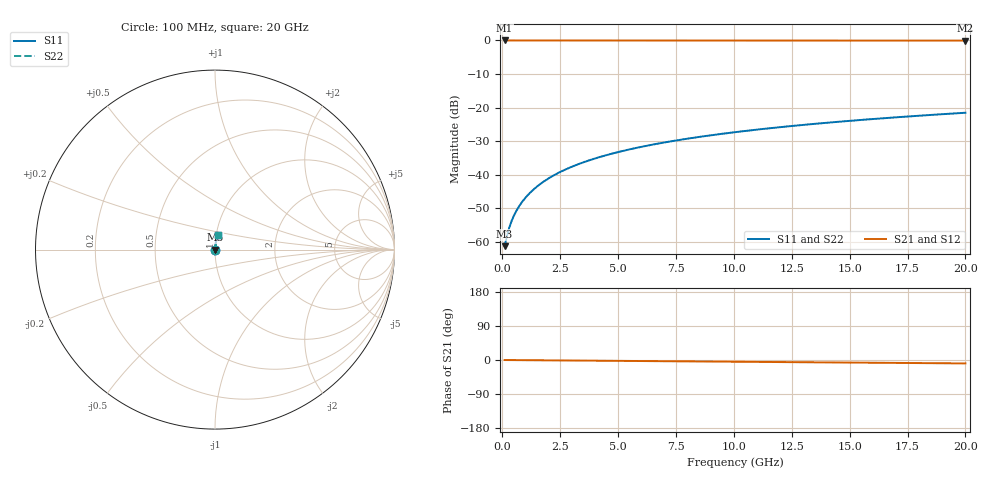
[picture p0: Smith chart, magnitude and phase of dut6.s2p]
! Touchstone file exported from HFSS 2026.1.0
!  File:  C:/ffzhzh/LocalFiles/Ansys_Project_Files/temp_val_BSMRDL_6_1782903132_42304.aedt
!  Generated:  06:53:24 PM Jul  1, 2026
!  Design:  BSMRDL
!  Project:  temp_val_BSMRDL_6_1782903132_42304
! Variables:
!  h_bsmrdl = 3.15um
!  h_ox = 20um
!  h_rdl = 5um
!  h_sub = 80um
!  h_tmrdl = 5um
!  h_tsv = 80um
!  h_via = 3um
!  l_bsmrdl = 100.12um
!  l_sub = 500.12um
!  l_tmrdl = 200um
!  m_sub = 200um
!  pitch = 47.39um
!  r_tsv = 6um
!  s_tmrdl = 10um
!  w_bsmrdl = 27.08um
!  w_sub = 500um
!  w_tmrdl = 12um
!  x_tsv_center1 = 206um
!  x_tsv_center2 = 333.2um
!  x_tsv_center3 = 545.2um
!  x_tsv_center4 = 672.4um
!  x_tsv_center5 = 884.4um
!  x_tsv_center6 = 1011.6um
# GHz S MA R 50.000000
! Terminal data exported
! Port[1] = BSM_RDL1_1_T1
! Port[2] = BSM_RDL1_1_T2
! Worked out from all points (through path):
!   200 points, 100 MHz to 20 GHz, reference 50 ohm
!   highest |S21| = -0.01 dB at 100 MHz (marker M1); lowest = -0.1 dB at 20 GHz (marker M2)
!   group delay of S21, straight-line fit = 1.25 ps
!   lowest |S11| = -61.3 dB at 100 MHz (marker M3), VSWR 1.00, Z = 50.1 + j0.049 ohm
!   |S11| at or under -10 dB: start of sweep to end of sweep
!   |S22| runs from -61.3 to -21.6 dB; largest |S21 - S12| = 2.1e-15
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0.1  0.0008582 34.8  0.9993 -0.0  0.9993 -0.0  0.0008582 34.8
! Gamma 0 0 0 0
! Port Impedance 50 0 50 0
0.2  0.001214 52.5  0.9993 -0.1  0.9993 -0.1  0.001214 52.5
0.3  0.001616 61.2  0.9992 -0.1  0.9992 -0.1  0.001616 61.2
0.4  0.002026 66.3  0.9992 -0.2  0.9992 -0.2  0.002026 66.3
0.5  0.002437 69.7  0.9992 -0.2  0.9992 -0.2  0.002437 69.7
0.6  0.00285 72.2  0.9991 -0.3  0.9991 -0.3  0.00285 72.2
0.8  0.003682 75.7  0.9991 -0.4  0.9991 -0.4  0.003682 75.7
1.1  0.004946 78.8  0.9991 -0.5  0.9991 -0.5  0.004946 78.8
1.3  0.005796 80.2  0.9991 -0.6  0.9991 -0.6  0.005796 80.2
1.6  0.007078 81.6  0.999 -0.7  0.999 -0.7  0.007078 81.6
2.1  0.009225 82.9  0.999 -1.0  0.999 -1.0  0.009225 82.9
2.7  0.01181 83.8  0.9989 -1.2  0.9989 -1.2  0.01181 83.8
3.5  0.01525 84.3  0.9988 -1.6  0.9988 -1.6  0.01525 84.3
4.2  0.01825 84.4  0.9987 -1.9  0.9987 -1.9  0.01825 84.4
5  0.02167 84.4  0.9985 -2.3  0.9985 -2.3  0.02167 84.4
5.9  0.0255 84.2  0.9983 -2.7  0.9983 -2.7  0.0255 84.2
6.8  0.02931 84.0  0.9981 -3.1  0.9981 -3.1  0.02931 84.0
8.3  0.03562 83.5  0.9977 -3.8  0.9977 -3.8  0.03562 83.5
10.1  0.04313 82.9  0.9972 -4.6  0.9972 -4.6  0.04313 82.9
13.4  0.05676 81.6  0.9961 -6.1  0.9961 -6.1  0.05676 81.6
16.7  0.07024 80.3  0.9949 -7.5  0.9949 -7.5  0.07024 80.3
20  0.0836 79.0  0.9936 -9.0  0.9936 -9.0  0.0836 79.0
